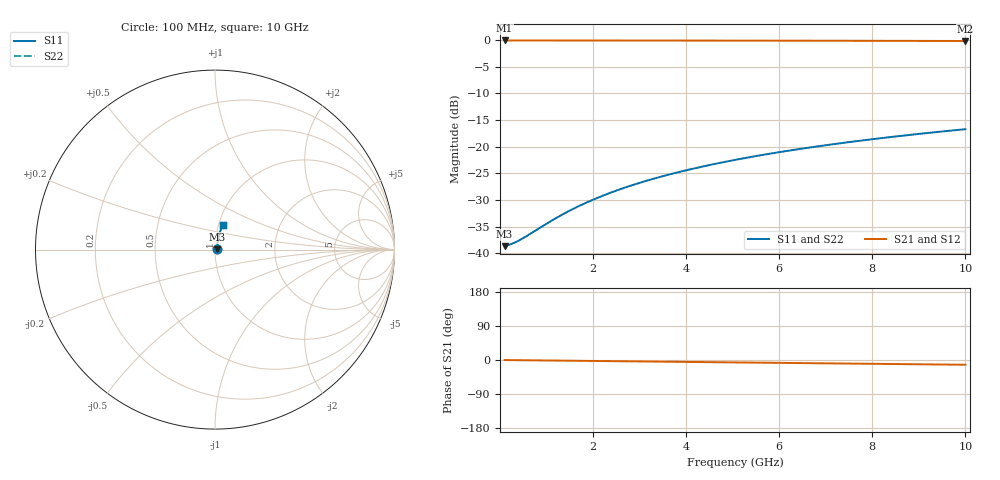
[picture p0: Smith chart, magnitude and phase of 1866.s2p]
# Hz S RI R 50.00
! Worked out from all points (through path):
!   100 points, 100 MHz to 10 GHz, reference 50 ohm
!   highest |S21| = -0.10 dB at 100 MHz (marker M1); lowest = -0.2 dB at 10 GHz (marker M2)
!   group delay of S21, straight-line fit = 3.48 ps
!   lowest |S11| = -38.6 dB at 100 MHz (marker M3), VSWR 1.02, Z = 51.2 + j0.148 ohm
!   |S11| at or under -10 dB: start of sweep to end of sweep
!   |S22| runs from -38.6 to -16.7 dB; largest |S21 - S12| = 0
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1e8  0.0116 0.00145  0.9884 -0.00218  0.9884 -0.00218  0.0116 0.00145
2e8  0.0117 0.0029  0.9883 -0.00435  0.9883 -0.00435  0.0117 0.0029
3e8  0.0118 0.00434  0.9882 -0.00653  0.9882 -0.00653  0.0118 0.00434
4e8  0.0118 0.00579  0.9882 -0.0087  0.9882 -0.0087  0.0118 0.00579
6e8  0.012 0.00868  0.988 -0.013  0.988 -0.013  0.012 0.00868
1e9  0.0123 0.0145  0.9877 -0.0217  0.9877 -0.0217  0.0123 0.0145
1.2e9  0.0124 0.0174  0.9875 -0.0261  0.9875 -0.0261  0.0124 0.0174
1.5e9  0.0128 0.0217  0.9872 -0.0326  0.9872 -0.0326  0.0128 0.0217
1.8e9  0.0131 0.026  0.9868 -0.0391  0.9868 -0.0391  0.0131 0.026
2.1e9  0.0135 0.0303  0.9863 -0.0456  0.9863 -0.0456  0.0135 0.0303
2.5e9  0.0142 0.0361  0.9856 -0.0543  0.9856 -0.0543  0.0142 0.0361
2.9e9  0.0149 0.0418  0.9848 -0.0629  0.9848 -0.0629  0.0149 0.0418
3.4e9  0.016 0.0489  0.9837 -0.0737  0.9837 -0.0737  0.016 0.0489
3.8e9  0.0169 0.0546  0.9827 -0.0823  0.9827 -0.0823  0.0169 0.0546
4.2e9  0.018 0.0603  0.9815 -0.0909  0.9815 -0.0909  0.018 0.0603
4.6e9  0.0191 0.0659  0.9803 -0.0994  0.9803 -0.0994  0.0191 0.0659
5.1e9  0.0207 0.073  0.9786 -0.1101  0.9786 -0.1101  0.0207 0.073
5.9e9  0.0235 0.0841  0.9755 -0.1271  0.9755 -0.1271  0.0235 0.0841
6.7e9  0.0267 0.0952  0.9721 -0.144  0.9721 -0.144  0.0267 0.0952
7.5e9  0.0303 0.106  0.9682 -0.1607  0.9682 -0.1607  0.0303 0.106
8.4e9  0.0348 0.1181  0.9633 -0.1793  0.9633 -0.1793  0.0348 0.1181
1e10  0.0438 0.139  0.9534 -0.212  0.9534 -0.212  0.0438 0.139
